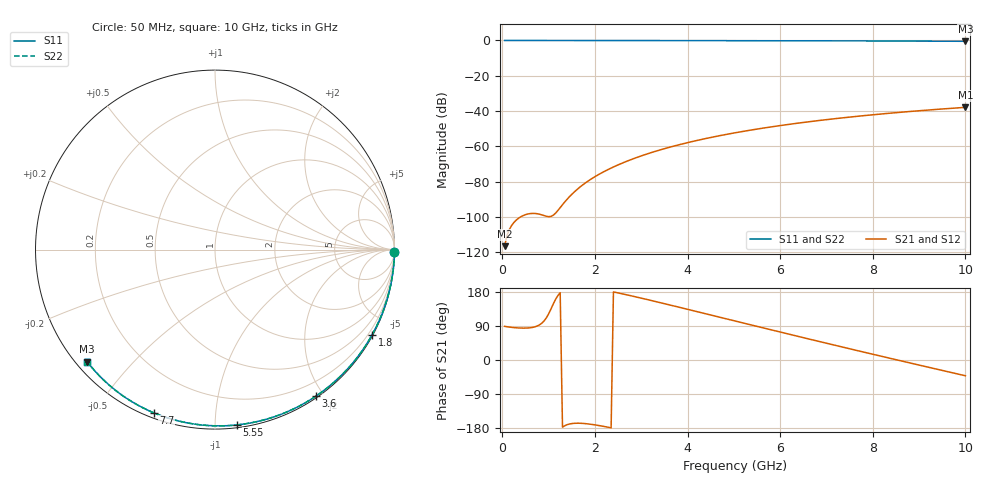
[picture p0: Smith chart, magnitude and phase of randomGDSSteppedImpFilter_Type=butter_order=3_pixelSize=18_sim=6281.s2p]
! freq	dB(S11)	phase(S11)	dB(S12)	phase(S12)
!  dB(S21)	phase(S21)	dB(S22)	phase(S22)
!S-par simulation data
#  GHz  S  DB  R 50
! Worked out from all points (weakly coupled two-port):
!   200 points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, 50 MHz to 10 GHz, reference 50 ohm
!   highest |S21| = -37.88 dB at 10 GHz (marker M1); lowest = -116.5 dB at 50 MHz (marker M2)
!   lowest |S11| = -0.5 dB at 10 GHz (marker M3), VSWR 36.92, Z = 1.55 - j18.8 ohm
!   |S11| at or under -10 dB: nowhere
!   |S22| runs from -0.5 to 0.0 dB; largest |S21 - S12| = 0
!   S11 on the Smith chart (normalised r, x): 50 MHz: open; 1.8 GHz: 0.03, -3.95; 3.6 GHz: 0.02, -1.90; 5.55 GHz: 0.02, -1.13; 7.7 GHz: 0.02, -0.69; 10 GHz: 0.03, -0.38
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0.05  -0.00 -0.8  -116.49 88.9  -116.49 88.9  -0.00 -0.8
0.45  -0.01 -7.2  -99.17 84.1  -99.17 84.1  -0.01 -7.2
0.9  -0.02 -14.4  -99.14 102.8  -99.14 102.8  -0.02 -14.4
1.75  -0.04 -27.7  -81.53 -167.4  -81.53 -167.4  -0.04 -27.7
1.8  -0.04 -28.4  -80.57 -167.9  -80.57 -167.9  -0.04 -28.4
1.85  -0.04 -29.2  -79.66 -168.6  -79.66 -168.6  -0.04 -29.2
2.05  -0.04 -32.3  -76.37 -172.2  -76.37 -172.2  -0.04 -32.3
2.25  -0.05 -35.4  -73.53 -176.6  -73.53 -176.6  -0.05 -35.4
2.55  -0.05 -39.9  -69.89 175.8  -69.89 175.8  -0.05 -39.9
2.95  -0.06 -45.9  -65.83 164.7  -65.83 164.7  -0.06 -45.9
3.4  -0.07 -52.6  -62.04 151.7  -62.04 151.7  -0.07 -52.6
3.6  -0.07 -55.5  -60.55 145.7  -60.55 145.7  -0.07 -55.5
3.9  -0.08 -59.9  -58.50 136.8  -58.50 136.8  -0.08 -59.9
4.3  -0.09 -65.6  -56.06 124.8  -56.06 124.8  -0.09 -65.6
5.05  -0.12 -76.1  -52.17 102.2  -52.17 102.2  -0.12 -76.1
5.55  -0.14 -82.9  -49.97 87.2  -49.97 87.2  -0.14 -82.9
6.1  -0.16 -90.2  -47.83 70.8  -47.83 70.8  -0.16 -90.2
6.7  -0.19 -98.0  -45.77 53.0  -45.77 53.0  -0.19 -98.0
7.7  -0.25 -110.6  -42.86 23.8  -42.86 23.8  -0.25 -110.6
8.35  -0.30 -118.7  -41.24 5.1  -41.24 5.1  -0.30 -118.7
9.2  -0.38 -129.0  -39.39 -19.1  -39.39 -19.1  -0.38 -129.0
10  -0.47 -138.7  -37.88 -41.6  -37.88 -41.6  -0.47 -138.7
